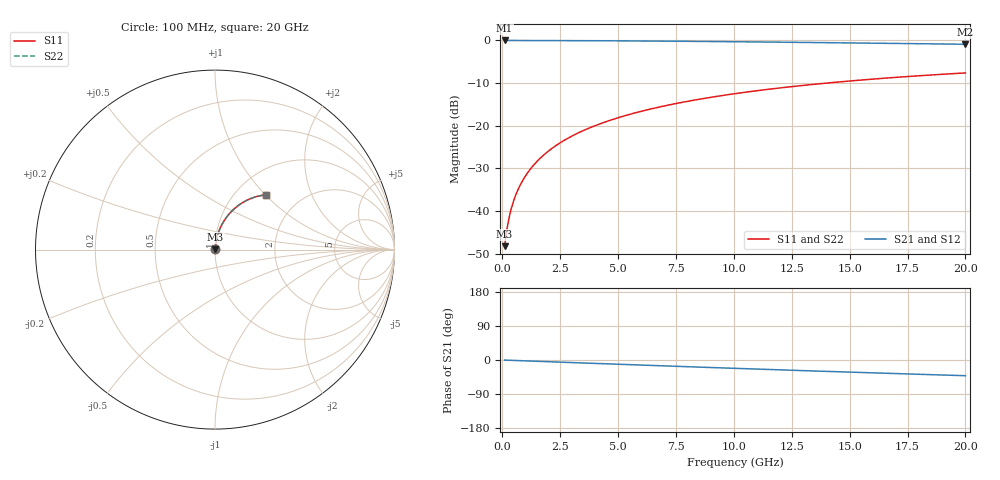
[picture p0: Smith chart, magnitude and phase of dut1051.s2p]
! Touchstone file exported from HFSS 2026.1.0
!  File:  C:/ffzhzh/LocalFiles/Ansys_Project_Files/temp_train_TMRDL_1051_1783160398_22436.aedt
!  Generated:  06:21:10 PM Jul  4, 2026
!  Design:  TMRDL
!  Project:  temp_train_TMRDL_1051_1783160398_22436
! Variables:
!  h_bsmrdl = 2um
!  h_ox = 20um
!  h_rdl = 5um
!  h_sub = 80um
!  h_tmrdl = 3.65um
!  h_tsv = 80um
!  h_via = 3um
!  l_bsmrdl = 300um
!  l_sub = 970.38um
!  l_tmrdl = 570.38um
!  m_sub = 200um
!  pitch = 55.13um
!  r_tsv = 6um
!  s_tmrdl = 10um
!  w_bsmrdl = 18um
!  w_sub = 500um
!  w_tmrdl = 21.48um
!  x_tsv_center1 = 581.12um
!  x_tsv_center2 = 899.12um
!  x_tsv_center3 = 1490.98um
!  x_tsv_center4 = 1808.98um
!  x_tsv_center5 = 2400.84um
!  x_tsv_center6 = 2718.84um
# GHz S MA R 50.000000
! Terminal data exported
! Port[1] = TM_RDL1_1_T1
! Port[2] = TM_RDL1_1_T2
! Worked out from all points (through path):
!   200 points, 100 MHz to 20 GHz, reference 50 ohm
!   highest |S21| = -0.02 dB at 100 MHz (marker M1); lowest = -0.9 dB at 20 GHz (marker M2)
!   group delay of S21, straight-line fit = 5.76 ps
!   lowest |S11| = -48.2 dB at 100 MHz (marker M3), VSWR 1.01, Z = 50.3 + j0.272 ohm
!   |S11| at or under -10 dB: start of sweep to 14.03 GHz
!   |S22| runs from -48.2 to -7.6 dB; largest |S21 - S12| = 3.4e-15
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0.1  0.00387 44.3  0.9972 -0.2  0.9972 -0.2  0.00387 44.3
! Gamma 0 0 0 0
! Port Impedance 50 0 50 0
0.2  0.00609 61.4  0.9971 -0.5  0.9971 -0.5  0.00609 61.4
0.3  0.008503 68.6  0.997 -0.7  0.997 -0.7  0.008503 68.6
0.4  0.01095 72.5  0.9968 -0.9  0.9968 -0.9  0.01095 72.5
0.5  0.01339 75.0  0.9967 -1.2  0.9967 -1.2  0.0134 75.0
0.6  0.01585 76.6  0.9966 -1.4  0.9966 -1.4  0.01585 76.6
0.8  0.02078 78.8  0.9964 -1.8  0.9964 -1.8  0.02078 78.8
1.1  0.02821 80.3  0.9961 -2.5  0.9961 -2.5  0.02821 80.3
1.5  0.03816 81.1  0.9957 -3.4  0.9957 -3.4  0.03816 81.1
1.8  0.04562 81.2  0.9953 -4.1  0.9953 -4.1  0.04563 81.2
2.1  0.05309 81.1  0.9948 -4.8  0.9948 -4.8  0.05309 81.1
2.7  0.06796 80.5  0.9937 -6.1  0.9937 -6.1  0.06796 80.5
3.5  0.08762 79.2  0.9917 -7.9  0.9917 -7.9  0.08762 79.2
4.2  0.1046 77.9  0.9897 -9.5  0.9897 -9.5  0.1046 77.9
5  0.1238 76.4  0.9871 -11.2  0.9871 -11.2  0.1238 76.4
5.9  0.145 74.6  0.9837 -13.2  0.9837 -13.2  0.145 74.5
6.8  0.1659 72.7  0.98 -15.1  0.98 -15.1  0.1659 72.7
8.3  0.1996 69.7  0.9729 -18.4  0.9729 -18.4  0.1996 69.6
10.1  0.2383 66.0  0.9635 -22.1  0.9635 -22.1  0.2383 66.0
13.4  0.3043 59.5  0.9438 -28.9  0.9438 -28.9  0.3044 59.5
16.7  0.3634 53.2  0.9222 -35.3  0.9222 -35.3  0.3634 53.2
20  0.4152 47.3  0.8999 -41.4  0.8999 -41.4  0.4152 47.2
